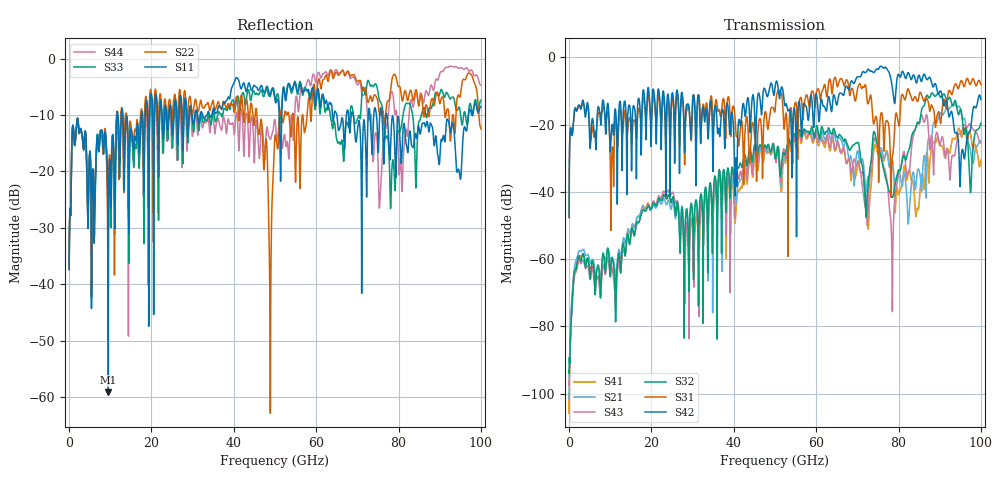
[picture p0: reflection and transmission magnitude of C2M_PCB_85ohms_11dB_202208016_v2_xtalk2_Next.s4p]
! Info: Touchstone file created by Circ.  Input file=Intel_C2M_200G_2p0in_202208016_staggered.circ
# Hz S RI R 50
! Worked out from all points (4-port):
!   10000 points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, 10 MHz to 100 GHz, reference 50 ohm
!   strongest paths, dB at 10 MHz, 25.01 GHz, 50.01 GHz, 75.01 GHz, 100 GHz:
!     S42: -47.5, -10.7, -9.1, -3.6, -12.6
!     S31: -47.7, -12.5, -15.9, -24.1, -8.1
!     S32: -93.2, -42.4, -29.8, -26.3, -19.6
!     S43: -96.7, -40.3, -28.9, -27.6, -25.1
!     S21: -101.5, -43.7, -29.9, -26.4, -24.8
!     S41: -100.0, -42.1, -29.2, -28.9, -30.5
!   lowest |S11| = -59.2 dB at 9.53 GHz (marker M1), VSWR 1.00, Z = 50 + j0.106 ohm
!   |S11| at or under -10 dB: start of sweep to 11.61 GHz; 13.05 GHz to 17.57 GHz (4.523 GHz wide, 29.5 % of centre); 77.2 GHz to 96.98 GHz (19.78 GHz wide, 22.7 % of centre)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
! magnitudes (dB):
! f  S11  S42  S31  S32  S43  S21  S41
! 10 MHz  -37.3  -47.5  -47.7  -93.2  -96.7  -101.5  -100.0
! 9.53 GHz  -59.2  -14.7  -16.7  -57.3  -60.2  -57.2  -59.7
! 57.07 GHz  -5.6  -13.6  -14.2  -21.4  -21.7  -21.6  -21.8
! 74.4 GHz  -8.9  -3.9  -17.7  -23.3  -24.3  -24.3  -26.1
! 78.38 GHz  -10.9  -8.0  -30.8  -41.5  -57.4  -32.1  -30.5
! 85.46 GHz  -12.7  -7.1  -10.7  -16.6  -17.5  -38.0  -36.2
! 100 GHz  -8.5  -12.6  -8.1  -19.6  -25.1  -24.8  -30.5
